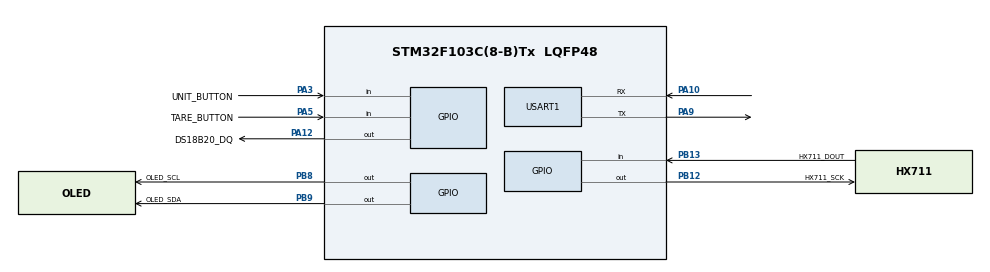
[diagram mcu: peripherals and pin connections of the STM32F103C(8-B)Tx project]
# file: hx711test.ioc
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Mcu.Family=STM32F1
Mcu.Name=STM32F103C(8-B)Tx
Mcu.Package=LQFP48
NVIC.PriorityGroup=NVIC_PRIORITYGROUP_4
PA10.Mode=Asynchronous
PA10.Signal=USART1_RX
PA12.GPIO_Label=DS18B20_DQ
PA12.GPIO_ModeDefaultOutputPP=GPIO_MODE_OUTPUT_OD
PA12.GPIO_Speed=GPIO_SPEED_FREQ_HIGH
PA12.PinState=GPIO_PIN_SET
PA12.Signal=GPIO_Output
PA3.GPIO_PuPd=GPIO_PULLUP
PA3.GPIO_Label=UNIT_BUTTON
PA3.Signal=GPIO_Input
PA5.GPIO_PuPd=GPIO_PULLUP
PA5.GPIO_Label=TARE_BUTTON
PA5.Signal=GPIO_Input
PA9.Mode=Asynchronous
PA9.Signal=USART1_TX
PB12.GPIO_Label=HX711_SCK
PB12.Signal=GPIO_Output
PB13.GPIO_PuPd=GPIO_PULLUP
PB13.GPIO_Label=HX711_DOUT
PB13.Signal=GPIO_Input
PB8.GPIO_Label=OLED_SCL
PB8.GPIO_ModeDefaultOutputPP=GPIO_MODE_OUTPUT_OD
PB8.GPIO_Speed=GPIO_SPEED_FREQ_HIGH
PB8.PinState=GPIO_PIN_SET
PB8.Signal=GPIO_Output
PB9.GPIO_Label=OLED_SDA
PB9.GPIO_ModeDefaultOutputPP=GPIO_MODE_OUTPUT_OD
PB9.GPIO_Speed=GPIO_SPEED_FREQ_HIGH
PB9.PinState=GPIO_PIN_SET
PB9.Signal=GPIO_Output
ProjectManager.HeapSize=0x200
ProjectManager.StackSize=0x400
ProjectManager.TargetToolchain=MDK-ARM V5.32
RCC.APB1Freq_Value=8000000
RCC.APB2Freq_Value=8000000
USART1.VirtualMode=VM_ASYNC
SYS.Debug=Serial_Wire
VP_SYS_VS_ND.Mode=Serial_Wire
board=custom

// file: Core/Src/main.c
/* USER CODE BEGIN Header */
/**
  ******************************************************************************
  * @file           : main.c
  * @brief          : Main program body
  ******************************************************************************
  * @attention
  *
  * Copyright (c) 2026 STMicroelectronics.
  * All rights reserved.
  *
  * This software is licensed under terms that can be found in the LICENSE file
  * in the root directory of this software component.
  * If no LICENSE file comes with this software, it is provided AS-IS.
  *
  ******************************************************************************
  */
/* USER CODE END Header */
#include "main.h"

/* USER CODE BEGIN Includes */
#include <stdio.h>
#include "hx711.h"
#include "oled.h"
#include "ds18b20.h"

/* USER CODE END Includes */

/* USER CODE BEGIN PD */
#define HX711_TARE_SAMPLES 16U
#define TARE_BUTTON_DEBOUNCE_MS 30U
#define UNIT_BUTTON_DEBOUNCE_MS 30U
#define RAW_REPORT_INTERVAL_MS 200U
#define HX711_AVERAGE_SAMPLES 5U
#define OLED_REPORT_INTERVAL_MS 500U
#define DS18B20_CONVERSION_MS 800U
#define DS18B20_RETRY_MS 1000U
/* 500 g calibration on 2026-10-15: 177.6184 ADC counts per gram. */
#define HX711_COUNTS_PER_GRAM_X10000 1776184LL

/* USER CODE END PD */

UART_HandleTypeDef huart1;

/* USER CODE BEGIN PV */
static const uint8_t startup_message[] = "USART1 OK, 115200 8N1\r\n";
static int32_t tare_offset;
static uint8_t tare_valid;
static int32_t average_samples[HX711_AVERAGE_SAMPLES];
static int64_t average_sum;
static uint8_t average_count;
static uint8_t average_index;
static uint32_t last_oled_tick;
static uint32_t temperature_tick;
static uint8_t temperature_converting;
static uint8_t display_unit_kg;

/* USER CODE END PV */

void SystemClock_Config(void);
static void MX_GPIO_Init(void);
static void MX_USART1_UART_Init(void);

/* USER CODE BEGIN 0 */
static HAL_StatusTypeDef HX711_Tare(int32_t *new_offset)
{
  int64_t sum = 0;
  uint8_t count;
  int32_t sample;
  HAL_StatusTypeDef status;

  for (count = 0U; count < HX711_TARE_SAMPLES; ++count)
  {
    status = HX711_Read(&sample, 200U);
    if (status != HAL_OK)
    {
      return status;
    }
    if (sample == -8388608L || sample == 8388607L)
    {
      return HAL_ERROR;
    }
    sum += sample;
  }

  *new_offset = (int32_t)(sum / HX711_TARE_SAMPLES);
  return HAL_OK;
}

/* Return weight in 0.1 g units; round signed values symmetrically.
   The 64-bit product avoids overflow at the HX711's 24-bit limits. */
static int32_t HX711_NetToTenthsOfGram(int32_t net)
{
  int64_t magnitude = (net < 0) ? -(int64_t)net : (int64_t)net;
  int32_t tenths = (int32_t)((magnitude * 100000LL +
                              HX711_COUNTS_PER_GRAM_X10000 / 2LL) /
                             HX711_COUNTS_PER_GRAM_X10000);

  return (net < 0) ? -tenths : tenths;
}

static void HX711_AverageReset(void)
{
  average_sum = 0;
  average_count = 0U;
  average_index = 0U;
}

/* Average the newest five net readings, or all available readings at start. */
static int32_t HX711_AverageAdd(int32_t net)
{
  if (average_count == HX711_AVERAGE_SAMPLES)
  {
    average_sum -= average_samples[average_index];
  }
  else
  {
    ++average_count;
  }

  average_samples[average_index] = net;
  average_sum += net;
  average_index = (uint8_t)((average_index + 1U) % HX711_AVERAGE_SAMPLES);

  return (int32_t)(average_sum / average_count);
}

/* Keep the whole display row 16 characters long so old digits are erased. */
static void OLED_ShowWeightTenths(int32_t tenths)
{
  char display_line[17];
  uint32_t magnitude = (tenths < 0) ? (uint32_t)(-tenths) :
                                       (uint32_t)tenths;
  int length;

  if (display_unit_kg != 0U)
  {
    /* tenths of a gram are ten-thousandths of a kilogram. */
    length = snprintf(display_line, sizeof(display_line),
                      "K %s%lu.%04lu kg", (tenths < 0) ? "-" : "",
                      (unsigned long)(magnitude / 10000U),
                      (unsigned long)(magnitude % 10000U));
  }
  else
  {
    length = snprintf(display_line, sizeof(display_line),
                      "G %s%lu.%01lu g", (tenths < 0) ? "-" : "",
                      (unsigned long)(magnitude / 10U),
                      (unsigned long)(magnitude % 10U));
  }

  if (length < 0 || length > 16)
  {
    return;
  }
  while (length < 16)
  {
    display_line[length++] = ' ';
  }
  display_line[16] = '\0';
  OLED_ShowString(2U, 1U, display_line);
}

static void DS18B20_Service(void)
{
  uint32_t now = HAL_GetTick();
  int16_t centi;
  char line[32];
  char display_line[17];
  int length;

  if ((now - temperature_tick) <
      (temperature_converting != 0U ? DS18B20_CONVERSION_MS : DS18B20_RETRY_MS))
  {
    return;
  }

  if (temperature_converting != 0U)
  {
    if (DS18B20_ReadCentiC(&centi) == HAL_OK)
    {
      uint32_t magnitude = (centi < 0) ? (uint32_t)(-(int32_t)centi) :
                                          (uint32_t)centi;
      length = snprintf(line, sizeof(line), "temp_c=%s%lu.%02lu\r\n",
                        (centi < 0) ? "-" : "",
                        (unsigned long)(magnitude / 100U),
                        (unsigned long)(magnitude % 100U));
      if (length > 0 && length < (int)sizeof(line))
      {
        HAL_UART_Transmit(&huart1, (uint8_t *)line, (uint16_t)length, 100U);
      }

      length = snprintf(display_line, sizeof(display_line),
                        "T %s%lu.%02lu C", (centi < 0) ? "-" : "",
                        (unsigned long)(magnitude / 100U),
                        (unsigned long)(magnitude % 100U));
      if (length > 0 && length <= 16)
      {
        while (length < 16)
        {
          display_line[length++] = ' ';
        }
        display_line[16] = '\0';
        OLED_ShowString(3U, 1U, display_line);
      }
    }
    else
    {
      static const uint8_t error_message[] = "temp_error=read_or_crc\r\n";
      HAL_UART_Transmit(&huart1, (uint8_t *)error_message,
                        sizeof(error_message) - 1U, 100U);
      OLED_ShowString(3U, 1U, "TEMP ERROR      ");
    }
  }

  temperature_converting = (DS18B20_StartConversion() == HAL_OK) ? 1U : 0U;
  temperature_tick = HAL_GetTick();
  if (temperature_converting == 0U)
  {
    static const uint8_t missing_message[] = "temp_error=no_presence\r\n";
    HAL_UART_Transmit(&huart1, (uint8_t *)missing_message,
                      sizeof(missing_message) - 1U, 100U);
    OLED_ShowString(3U, 1U, "TEMP ERROR      ");
  }
}

/* USER CODE END 0 */

int main(void)
{

  /* USER CODE BEGIN 1 */
  GPIO_PinState button_last_sample;
  GPIO_PinState button_stable_state;
  uint32_t button_change_tick;
  uint32_t last_report_tick;
  uint8_t button_armed;
  GPIO_PinState unit_last_sample;
  GPIO_PinState unit_stable_state;
  uint32_t unit_change_tick;
  uint8_t unit_armed;

  /* USER CODE END 1 */

  /* MCU Configuration--------------------------------------------------------*/

  /* Reset of all peripherals, Initializes the Flash interface and the Systick. */
  HAL_Init();

  /* Configure the system clock */
  SystemClock_Config();

  /* Initialize all configured peripherals */
  MX_GPIO_Init();
  MX_USART1_UART_Init();
  /* USER CODE BEGIN 2 */
  HAL_UART_Transmit(&huart1, (uint8_t *)startup_message,
                    sizeof(startup_message) - 1U, 100U);
  OLED_Init();
  OLED_ShowString(1U, 1U, "WEIGHT (g)");
  OLED_ShowString(2U, 1U, "Waiting HX711...");
  OLED_ShowString(3U, 1U, "TEMP WAIT");
  OLED_ShowString(4U, 1U, "PA5 TARE A3 UNIT");
  DS18B20_Init();
  temperature_converting = (DS18B20_StartConversion() == HAL_OK) ? 1U : 0U;
  temperature_tick = HAL_GetTick();
  HAL_Delay(500U);

  /* The pan must be empty at startup. Average several conversions for zero. */
  {
    int32_t new_offset;
    char line[64];
    int length;

    if (HX711_Tare(&new_offset) == HAL_OK)
    {
      tare_offset = new_offset;
      tare_valid = 1U;
      HX711_AverageReset();
      length = snprintf(line, sizeof(line), "tare_offset=%ld samples=%u\r\n",
                        (long)tare_offset, (unsigned int)HX711_TARE_SAMPLES);
    }
    else
    {
      length = snprintf(line, sizeof(line),
                        "tare failed; keep pan empty and reset\r\n");
    }

    if (length > 0 && length < (int)sizeof(line))
    {
      HAL_UART_Transmit(&huart1, (uint8_t *)line, (uint16_t)length, 100U);
    }
  }

  button_last_sample = HAL_GPIO_ReadPin(TARE_BUTTON_GPIO_Port, TARE_BUTTON_Pin);
  button_stable_state = button_last_sample;
  button_change_tick = HAL_GetTick();
  button_armed = (button_stable_state == GPIO_PIN_SET) ? 1U : 0U;
  unit_last_sample = HAL_GPIO_ReadPin(UNIT_BUTTON_GPIO_Port, UNIT_BUTTON_Pin);
  unit_stable_state = unit_last_sample;
  unit_change_tick = HAL_GetTick();
  unit_armed = (unit_stable_state == GPIO_PIN_SET) ? 1U : 0U;
  last_report_tick = HAL_GetTick() - RAW_REPORT_INTERVAL_MS;
  last_oled_tick = HAL_GetTick() - OLED_REPORT_INTERVAL_MS;

  /* USER CODE END 2 */

  /* Infinite loop */
  while (1)
  {

    /* USER CODE BEGIN 3 */
    int32_t raw;
    char line[64];
    int length;
    uint32_t now = HAL_GetTick();
    GPIO_PinState button_sample = HAL_GPIO_ReadPin(TARE_BUTTON_GPIO_Port,
                                                    TARE_BUTTON_Pin);

    /* Accept a change only after it remains unchanged for the debounce time. */
    if (button_sample != button_last_sample)
    {
      button_last_sample = button_sample;
      button_change_tick = now;
    }
    if (button_last_sample != button_stable_state &&
        (now - button_change_tick) >= TARE_BUTTON_DEBOUNCE_MS)
    {
      button_stable_state = button_last_sample;
      if (button_stable_state == GPIO_PIN_SET)
      {
        button_armed = 1U;
      }
      else if (button_armed != 0U)
      {
        int32_t new_offset;
        /* A held button cannot start a second tare until it is released. */
        button_armed = 0U;

        if (HX711_Tare(&new_offset) == HAL_OK)
        {
          tare_offset = new_offset;
          tare_valid = 1U;
          HX711_AverageReset();
          length = snprintf(line, sizeof(line), "tare_button_offset=%ld\r\n",
                            (long)tare_offset);
        }
        else
        {
          length = snprintf(line, sizeof(line),
                            "tare button failed; old offset kept\r\n");
        }

        if (length > 0 && length < (int)sizeof(line))
        {
          HAL_UART_Transmit(&huart1, (uint8_t *)line, (uint16_t)length, 100U);
        }
      }
    }

    /* Change display units once per debounced press; tare/calibration stay intact. */
    {
      GPIO_PinState unit_sample = HAL_GPIO_ReadPin(UNIT_BUTTON_GPIO_Port,
                                                   UNIT_BUTTON_Pin);
      if (unit_sample != unit_last_sample)
      {
        unit_last_sample = unit_sample;
        unit_change_tick = HAL_GetTick();
      }
      if (unit_last_sample != unit_stable_state &&
          (HAL_GetTick() - unit_change_tick) >= UNIT_BUTTON_DEBOUNCE_MS)
      {
        unit_stable_state = unit_last_sample;
        if (unit_stable_state == GPIO_PIN_SET)
        {
          unit_armed = 1U;
        }
        else if (unit_armed != 0U)
        {
          static const uint8_t unit_g_message[] = "display_unit=g\r\n";
          static const uint8_t unit_kg_message[] = "display_unit=kg\r\n";
          unit_armed = 0U;
          display_unit_kg ^= 1U;
          OLED_ShowString(1U, 1U,
                          display_unit_kg != 0U ? "WEIGHT (kg)" : "WEIGHT (g) ");
          last_oled_tick = HAL_GetTick() - OLED_REPORT_INTERVAL_MS;
          if (display_unit_kg != 0U)
          {
            HAL_UART_Transmit(&huart1, (uint8_t *)unit_kg_message,
                              sizeof(unit_kg_message) - 1U, 100U);
          }
          else
          {
            HAL_UART_Transmit(&huart1, (uint8_t *)unit_g_message,
                              sizeof(unit_g_message) - 1U, 100U);
          }
        }
      }
    }

    /* Keep serial reports spaced out while checking the button every 10 ms. */
    if ((HAL_GetTick() - last_report_tick) >= RAW_REPORT_INTERVAL_MS)
    {
      HAL_StatusTypeDef status;
      last_report_tick = HAL_GetTick();
      status = HX711_Read(&raw, 200U);

      if (status == HAL_OK)
      {
        if (tare_valid != 0U)
        {
          int32_t net = raw - tare_offset;
          int32_t tenths = HX711_NetToTenthsOfGram(net);
          int32_t average_net = HX711_AverageAdd(net);
          int32_t average_tenths = HX711_NetToTenthsOfGram(average_net);
          uint32_t magnitude = (tenths < 0) ? (uint32_t)(-tenths) :
                                               (uint32_t)tenths;
          uint32_t average_magnitude = (average_tenths < 0) ?
                                       (uint32_t)(-average_tenths) :
                                       (uint32_t)average_tenths;

          if ((HAL_GetTick() - last_oled_tick) >= OLED_REPORT_INTERVAL_MS)
          {
            OLED_ShowWeightTenths(average_tenths);
            last_oled_tick = HAL_GetTick();
          }

          length = snprintf(line, sizeof(line),
                            "raw=%ld net=%ld g=%s%lu.%01lu g_avg=%s%lu.%01lu\r\n",
                            (long)raw, (long)net,
                            (tenths < 0) ? "-" : "",
                            (unsigned long)(magnitude / 10U),
                            (unsigned long)(magnitude % 10U),
                            (average_tenths < 0) ? "-" : "",
                            (unsigned long)(average_magnitude / 10U),
                            (unsigned long)(average_magnitude % 10U));
        }
        else
        {
          length = snprintf(line, sizeof(line), "raw=%ld tare=invalid\r\n",
                            (long)raw);
        }
      }
      else
      {
        length = snprintf(line, sizeof(line), "HX711 timeout\r\n");
      }

      if (length > 0 && length < (int)sizeof(line))
      {
        HAL_UART_Transmit(&huart1, (uint8_t *)line, (uint16_t)length, 100U);
      }
    }
    DS18B20_Service();
    HAL_Delay(10U);
  }
  /* USER CODE END 3 */
}

void SystemClock_Config(void)
{
  RCC_OscInitTypeDef RCC_OscInitStruct = {0};
  RCC_ClkInitTypeDef RCC_ClkInitStruct = {0};

  /** Initializes the RCC Oscillators according to the specified parameters
  * in the RCC_OscInitTypeDef structure.
  */
  RCC_OscInitStruct.OscillatorType = RCC_OSCILLATORTYPE_HSI;
  RCC_OscInitStruct.HSIState = RCC_HSI_ON;
  RCC_OscInitStruct.HSICalibrationValue = RCC_HSICALIBRATION_DEFAULT;
  RCC_OscInitStruct.PLL.PLLState = RCC_PLL_NONE;
  if (HAL_RCC_OscConfig(&RCC_OscInitStruct) != HAL_OK)
  {
    Error_Handler();
  }

  /** Initializes the CPU, AHB and APB buses clocks
  */
  RCC_ClkInitStruct.ClockType = RCC_CLOCKTYPE_HCLK|RCC_CLOCKTYPE_SYSCLK
                              |RCC_CLOCKTYPE_PCLK1|RCC_CLOCKTYPE_PCLK2;
  RCC_ClkInitStruct.SYSCLKSource = RCC_SYSCLKSOURCE_HSI;
  RCC_ClkInitStruct.AHBCLKDivider = RCC_SYSCLK_DIV1;
  RCC_ClkInitStruct.APB1CLKDivider = RCC_HCLK_DIV1;
  RCC_ClkInitStruct.APB2CLKDivider = RCC_HCLK_DIV1;

  if (HAL_RCC_ClockConfig(&RCC_ClkInitStruct, FLASH_LATENCY_0) != HAL_OK)
  {
    Error_Handler();
  }
}

static void MX_USART1_UART_Init(void)
{

  huart1.Instance = USART1;
  huart1.Init.BaudRate = 115200;
  huart1.Init.WordLength = UART_WORDLENGTH_8B;
  huart1.Init.StopBits = UART_STOPBITS_1;
  huart1.Init.Parity = UART_PARITY_NONE;
  huart1.Init.Mode = UART_MODE_TX_RX;
  huart1.Init.HwFlowCtl = UART_HWCONTROL_NONE;
  huart1.Init.OverSampling = UART_OVERSAMPLING_16;
  if (HAL_UART_Init(&huart1) != HAL_OK)
  {
    Error_Handler();
  }

}

static void MX_GPIO_Init(void)
{
  GPIO_InitTypeDef GPIO_InitStruct = {0};

  /* GPIO Ports Clock Enable */
  __HAL_RCC_GPIOB_CLK_ENABLE();
  __HAL_RCC_GPIOA_CLK_ENABLE();

  /*Configure GPIO pin Output Level */
  HAL_GPIO_WritePin(HX711_SCK_GPIO_Port, HX711_SCK_Pin, GPIO_PIN_RESET);

  /*Configure OLED software I2C pins idle high (open drain). */
  HAL_GPIO_WritePin(GPIOB, OLED_SCL_Pin | OLED_SDA_Pin, GPIO_PIN_SET);

  GPIO_InitStruct.Pin = OLED_SCL_Pin | OLED_SDA_Pin;
  GPIO_InitStruct.Mode = GPIO_MODE_OUTPUT_OD;
  GPIO_InitStruct.Pull = GPIO_NOPULL;
  GPIO_InitStruct.Speed = GPIO_SPEED_FREQ_HIGH;
  HAL_GPIO_Init(GPIOB, &GPIO_InitStruct);

  /*Configure GPIO pin : HX711_SCK_Pin */
  GPIO_InitStruct.Pin = HX711_SCK_Pin;
  GPIO_InitStruct.Mode = GPIO_MODE_OUTPUT_PP;
  GPIO_InitStruct.Pull = GPIO_NOPULL;
  GPIO_InitStruct.Speed = GPIO_SPEED_FREQ_LOW;
  HAL_GPIO_Init(HX711_SCK_GPIO_Port, &GPIO_InitStruct);

  /*Configure GPIO pin : HX711_DOUT_Pin */
  GPIO_InitStruct.Pin = HX711_DOUT_Pin;
  GPIO_InitStruct.Mode = GPIO_MODE_INPUT;
  GPIO_InitStruct.Pull = GPIO_PULLUP;
  HAL_GPIO_Init(HX711_DOUT_GPIO_Port, &GPIO_InitStruct);

  /*Configure GPIO pin : TARE_BUTTON_Pin (pressed = low) */
  GPIO_InitStruct.Pin = TARE_BUTTON_Pin;
  GPIO_InitStruct.Mode = GPIO_MODE_INPUT;
  GPIO_InitStruct.Pull = GPIO_PULLUP;
  HAL_GPIO_Init(TARE_BUTTON_GPIO_Port, &GPIO_InitStruct);

  /*Configure GPIO pin : UNIT_BUTTON_Pin (pressed = low) */
  GPIO_InitStruct.Pin = UNIT_BUTTON_Pin;
  GPIO_InitStruct.Mode = GPIO_MODE_INPUT;
  GPIO_InitStruct.Pull = GPIO_PULLUP;
  HAL_GPIO_Init(UNIT_BUTTON_GPIO_Port, &GPIO_InitStruct);

  /* USER CODE BEGIN MX_GPIO_Init_2 */

  /* Release the open-drain 1-Wire bus before making PA12 an output. */
  HAL_GPIO_WritePin(DS18B20_DQ_GPIO_Port, DS18B20_DQ_Pin, GPIO_PIN_SET);
  GPIO_InitStruct.Pin = DS18B20_DQ_Pin;
  GPIO_InitStruct.Mode = GPIO_MODE_OUTPUT_OD;
  GPIO_InitStruct.Pull = GPIO_NOPULL;
  GPIO_InitStruct.Speed = GPIO_SPEED_FREQ_HIGH;
  HAL_GPIO_Init(DS18B20_DQ_GPIO_Port, &GPIO_InitStruct);

  /* USER CODE END MX_GPIO_Init_2 */
}

void Error_Handler(void)
{
  __disable_irq();
  while (1)
  {
  }
}
